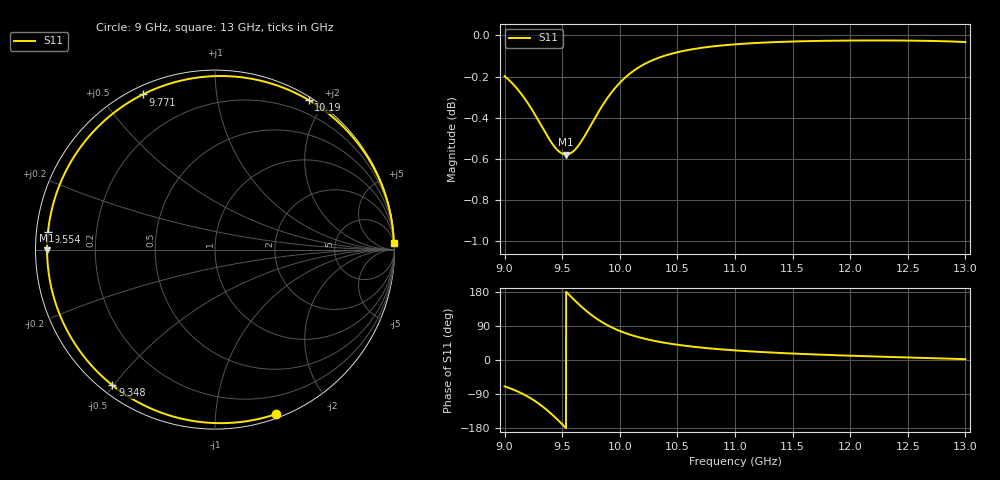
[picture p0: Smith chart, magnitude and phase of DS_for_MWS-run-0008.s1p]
! TOUCHSTONE file generated by CST DESIGN STUDIO
! Date and time: Tue Feb  4 15:59:47 2025
! Project name: C:\Work\MatlabApps\UnitCellOptimizationMatlab\CST\unitcell.cst
! Tree item: Tasks\Sweep1\SPara1\S-Parameters
! Header version: 2024
! Port assignment regex: !\s*Touchstone port\s*([0-9]+)\s*=\s*(CST MWS port|CST DES external port|CST DES block port)\s*(.+)\s* \(\"(.*)\"\)(\s*mode\s*([0-9]+))?.*
! Touchstone port assignment:
! Touchstone port 1 = CST DES external port 1 ("")
# GHz S MA R 50
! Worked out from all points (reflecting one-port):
!   4001 points, 9 GHz to 13 GHz, reference 50 ohm
!   lowest |S11| = -0.6 dB at 9.533 GHz (marker M1), VSWR 30.02, Z = 1.67 - j0.121 ohm
!   phase of S11 starts at -70 deg and turns -288 deg over the sweep
!   S11 on the Smith chart (normalised r, x): 9 GHz: 0.03, -1.44; 9.348 GHz: 0.03, -0.50; 9.554 GHz: 0.03, +0.05; 9.771 GHz: 0.03, +0.64; 10.19 GHz: 0.04, +1.80; 13 GHz: 5, +51
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9  0.9775 -69.6
9.098  0.9714 -81.0
9.206  0.9624 -97.4
9.281  0.9548 -111.8
9.348  0.9476 -127.1
9.42  0.9407 -146.1
9.462  0.9377 -158.2
9.5  0.936 -169.6
9.533  0.9355 -179.7
9.554  0.9357 173.8
9.608  0.9379 157.6
9.668  0.9426 140.5
9.719  0.9478 127.2
9.771  0.9534 115.0
9.819  0.9585 105.0
9.871  0.9636 95.4
9.935  0.9692 85.3
10  0.9739 76.7
10.091  0.9791 66.7
10.191  0.9833 58.0
10.332  0.9875 48.6
10.5  0.9906 40.3
10.721  0.9932 32.4
11  0.995 25.4
11.5  0.9966 17.0
12  0.9972 11.3
12.5  0.9971 6.7
13  0.9963 2.2
